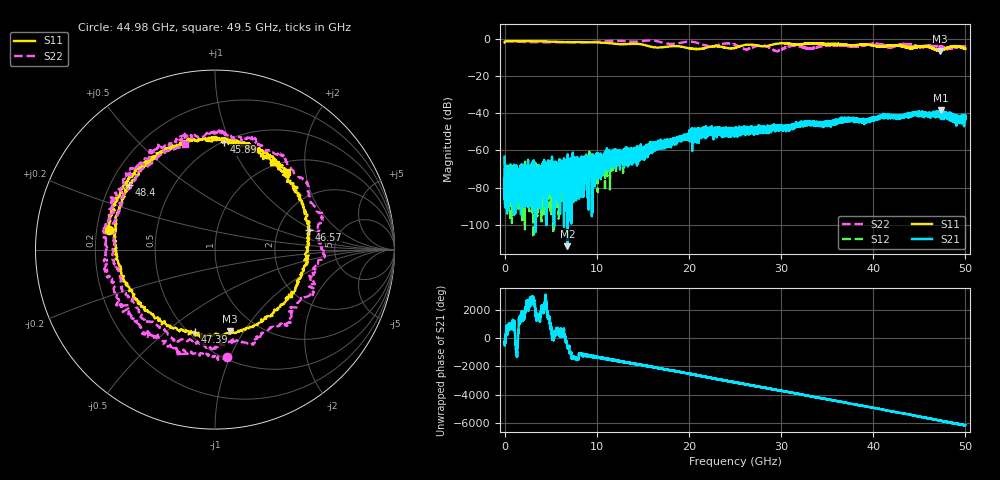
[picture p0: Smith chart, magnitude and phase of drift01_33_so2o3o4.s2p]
!Created with skrf (http://scikit-rf.org).
# Hz S RI R 50.0
!freq ReS11 ImS11 ReS21 ImS21 ReS12 ImS12 ReS22 ImS22
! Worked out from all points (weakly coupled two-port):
!   10001 points, 300 kHz to 50 GHz, reference 50 ohm
!   highest |S21| = -38.50 dB at 47.38 GHz (marker M1); lowest = -111.5 dB at 6.82 GHz (marker M2)
!   lowest |S11| = -6.7 dB at 47.21 GHz (marker M3), VSWR 2.71, Z = 37.7 - j43.5 ohm
!   |S11| at or under -10 dB: nowhere
!   |S22| runs from -6.9 to -1.0 dB; largest |S21 - S12| = 0.004
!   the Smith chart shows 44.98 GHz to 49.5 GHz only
!   S11 on the Smith chart (normalised r, x): 44.98 GHz: 0.25, +0.09; 45.89 GHz: 0.50, +0.95; 46.57 GHz: 2.97, +0.92; 47.39 GHz: 0.54, -0.63; 48.4 GHz: 0.28, +0.31; 49.5 GHz: 1.20, +1.59
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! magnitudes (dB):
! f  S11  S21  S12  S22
! 300 kHz  -2.1  -63.5  -63.0  -1.3
! 255.3 MHz  -1.4  -76.4  -77.9  -1.4
! 585.3 MHz  -1.5  -70.7  -75.4  -1.4
! 6.82 GHz  -2.0  -111.5  -72.4  -1.9
! 8.335 GHz  -1.9  -67.7  -68.9  -2.1
! 16.67 GHz  -4.8  -57.7  -56.9  -1.6
! 21.72 GHz  -5.1  -49.0  -50.7  -3.6
! 25 GHz  -5.0  -49.7  -51.5  -3.4
! 28.09 GHz  -4.3  -48.1  -48.7  -3.8
! 29.52 GHz  -2.8  -48.0  -47.8  -6.7
! 31.29 GHz  -3.1  -47.0  -46.3  -3.9
! 33.34 GHz  -2.6  -45.3  -45.9  -5.4
! 41.67 GHz  -3.9  -40.6  -41.6  -4.6
! 44.98 GHz  -4.4  -40.1  -40.0  -4.4
! 45.89 GHz  -4.4  -41.8  -40.7  -4.5
! 46.57 GHz  -5.5  -40.5  -40.2  -3.7
! 47.21 GHz  -6.7  -40.9  -40.3  -4.5
! 47.38 GHz  -6.3  -38.5  -41.1  -4.8
! 47.39 GHz  -6.5  -41.8  -41.4  -4.8
! 48.4 GHz  -4.5  -44.2  -41.6  -5.3
! 49.5 GHz  -4.6  -44.5  -42.4  -4.3
! 50 GHz  -5.4  -42.1  -41.4  -4.3
